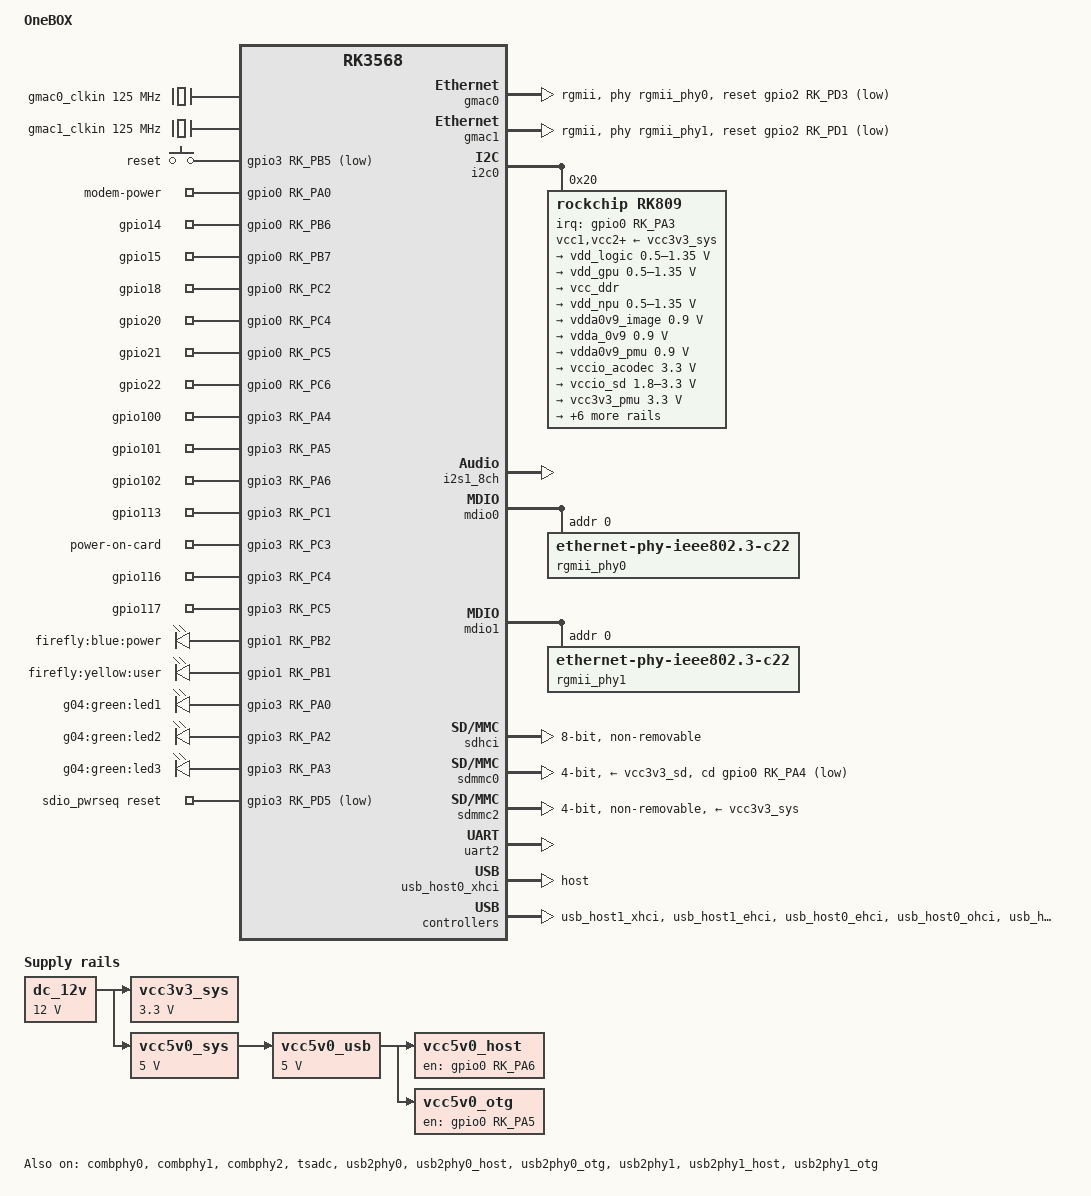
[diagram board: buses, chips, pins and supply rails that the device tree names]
// SPDX-License-Identifier: (GPL-2.0+ OR MIT)
/*
 * Copyright (c) 2021 Rockchip Electronics Co., Ltd.
 */

/dts-v1/;

#include <dt-bindings/gpio/gpio.h>
#include <dt-bindings/pinctrl/rockchip.h>
#include <dt-bindings/soc/rockchip,vop2.h>
#include <dt-bindings/input/input.h>
#include "rk3568.dtsi"

/ {
	model = "OneBOX";
	compatible = "cmiot,g04", "rockchip,rk3568";

	aliases {
		ethernet0 = &gmac0;
		ethernet1 = &gmac1;
		mmc0 = &sdmmc0;
		mmc1 = &sdhci;

		led-boot = &power_led;
		led-failsafe = &power_led;
		led-running = &power_led;
		led-upgrade = &power_led;
	};

	chosen: chosen {
		stdout-path = "serial2:1500000n8";
	};

	dc_12v: dc-12v-regulator {
		compatible = "regulator-fixed";
		regulator-name = "dc_12v";
		regulator-always-on;
		regulator-boot-on;
		regulator-min-microvolt = <12000000>;
		regulator-max-microvolt = <12000000>;
	};

	gmac0_clkin: external-gmac0-clock {
		compatible = "fixed-clock";
		clock-frequency = <125000000>;
		clock-output-names = "gmac0_clkin";
		#clock-cells = <0>;
	};

	gmac1_clkin: external-gmac1-clock {
		compatible = "fixed-clock";
		clock-frequency = <125000000>;
		clock-output-names = "gmac1_clkin";
		#clock-cells = <0>;
	};

	gpio-keys {
		compatible = "gpio-keys";

		reset {
			label = "reset";
			linux,code = <KEY_RESTART>;
			gpios = <&gpio3 RK_PB5 GPIO_ACTIVE_LOW>;
		};
	};

	gpio-export {
		compatible = "gpio-export";

		gpio0 {
			gpio-export,name = "modem-power";
			gpio-export,output = <1>;
			gpios = <&gpio0 RK_PA0 GPIO_ACTIVE_HIGH>;
		};

		gpio14 {
			gpio-export,name = "gpio14";
			gpio-export,output = <0>;
			gpios = <&gpio0 RK_PB6 GPIO_ACTIVE_HIGH>;
		};

		gpio15 {
			gpio-export,name = "gpio15";
			gpio-export,output = <0>;
			gpios = <&gpio0 RK_PB7 GPIO_ACTIVE_HIGH>;
		};

		gpio18 {
			gpio-export,name = "gpio18";
			gpios = <&gpio0 RK_PC2 GPIO_ACTIVE_HIGH>;
		};

		gpio20 {
			gpio-export,name = "gpio20";
			gpio-export,output = <0>;
			gpios = <&gpio0 RK_PC4 GPIO_ACTIVE_HIGH>;
		};

		gpio21 {
			gpio-export,name = "gpio21";
			gpios = <&gpio0 RK_PC5 GPIO_ACTIVE_HIGH>;
		};

		gpio22 {
			gpio-export,name = "gpio22";
			gpios = <&gpio0 RK_PC6 GPIO_ACTIVE_HIGH>;
		};

		gpio100 {
			gpio-export,name = "gpio100";
			gpios = <&gpio3 RK_PA4 GPIO_ACTIVE_HIGH>;
		};

		gpio101 {
			gpio-export,name = "gpio101";
			gpios = <&gpio3 RK_PA5 GPIO_ACTIVE_HIGH>;
		};

		gpio102 {
			gpio-export,name = "gpio102";
			gpio-export,output = <0>;
			gpios = <&gpio3 RK_PA6 GPIO_ACTIVE_HIGH>;
		};

		gpio113 {
			gpio-export,name = "gpio113";
			gpios = <&gpio3 RK_PC1 GPIO_ACTIVE_HIGH>;
		};

		gpio115 {
			gpio-export,name = "power-on-card";
			gpio-export,output = <1>;
			gpios = <&gpio3 RK_PC3 GPIO_ACTIVE_HIGH>;
		};

		gpio116 {
			gpio-export,name = "gpio116";
			gpio-export,output = <0>;
			gpios = <&gpio3 RK_PC4 GPIO_ACTIVE_HIGH>;
		};

		gpio117 {
			gpio-export,name = "gpio117";
			gpio-export,output = <0>;
			gpios = <&gpio3 RK_PC5 GPIO_ACTIVE_HIGH>;
		};
	};

	leds {
		compatible = "gpio-leds";
		pinctrl-names = "default";
		pinctrl-0 = <&power_led_pin>, <&user_led_pin>, <&led1_pin>,
				<&led2_pin>, <&led3_pin>;

		power_led: led-power {
			label = "firefly:blue:power";
			linux,default-trigger = "ir-power-click";
			default-state = "on";
			gpios = <&gpio1 RK_PB2 GPIO_ACTIVE_HIGH>;
		};

		led-user {
			label = "firefly:yellow:user";
			linux,default-trigger = "ir-user-click";
			default-state = "off";
			gpios = <&gpio1 RK_PB1 GPIO_ACTIVE_HIGH>;
		};

		led1 {
			label = "g04:green:led1";
			gpios = <&gpio3 RK_PA0 GPIO_ACTIVE_HIGH>;
		};

		led2 {
			label = "g04:green:led2";
			gpios = <&gpio3 RK_PA2 GPIO_ACTIVE_HIGH>;
		};

		led3 {
			label = "g04:green:led3";
			gpios = <&gpio3 RK_PA3 GPIO_ACTIVE_HIGH>;
		};
	};

	vcc3v3_sys: vcc3v3-sys-regulator {
		compatible = "regulator-fixed";
		regulator-name = "vcc3v3_sys";
		regulator-always-on;
		regulator-boot-on;
		regulator-min-microvolt = <3300000>;
		regulator-max-microvolt = <3300000>;
		vin-supply = <&dc_12v>;
	};

	vcc5v0_sys: vcc5v0-sys-regulator {
		compatible = "regulator-fixed";
		regulator-name = "vcc5v0_sys";
		regulator-always-on;
		regulator-boot-on;
		regulator-min-microvolt = <5000000>;
		regulator-max-microvolt = <5000000>;
		vin-supply = <&dc_12v>;
	};

	vcc5v0_usb: vcc5v0-usb-regulator {
		compatible = "regulator-fixed";
		regulator-name = "vcc5v0_usb";
		regulator-always-on;
		regulator-boot-on;
		regulator-min-microvolt = <5000000>;
		regulator-max-microvolt = <5000000>;
		vin-supply = <&vcc5v0_sys>;
	};

	vcc5v0_host: vcc5v0-host-regulator {
		compatible = "regulator-fixed";
		regulator-name = "vcc5v0_host";
		enable-active-high;
		gpio = <&gpio0 RK_PA6 GPIO_ACTIVE_HIGH>;
		pinctrl-names = "default";
		pinctrl-0 = <&vcc5v0_host_en>;
		regulator-always-on;
		vin-supply = <&vcc5v0_usb>;
	};

	vcc5v0_otg: vcc5v0-otg-regulator {
		compatible = "regulator-fixed";
		regulator-name = "vcc5v0_otg";
		enable-active-high;
		gpio = <&gpio0 RK_PA5 GPIO_ACTIVE_HIGH>;
		pinctrl-names = "default";
		pinctrl-0 = <&vcc5v0_otg_en>;
		vin-supply = <&vcc5v0_usb>;
	};

	sdio_pwrseq: sdio-pwrseq {
		compatible = "mmc-pwrseq-simple";
		clocks = <&rk809 1>;
		clock-names = "ext_clock";
		pinctrl-names = "default";
		pinctrl-0 = <&wifi_enable_h>;
		post-power-on-delay-ms = <100>;
		power-off-delay-us = <5000000>;
		reset-gpios = <&gpio3 RK_PD5 GPIO_ACTIVE_LOW>;
	};
};

&combphy0 {
	status = "okay";
};

&combphy1 {
	status = "okay";
};

&combphy2 {
	status = "okay";
};

&gmac0 {
	assigned-clocks = <&cru SCLK_GMAC0_RX_TX>, <&cru SCLK_GMAC0>;
	assigned-clock-parents = <&cru SCLK_GMAC0_RGMII_SPEED>, <&gmac0_clkin>;
	clock_in_out = "input";
	pinctrl-names = "default";
	pinctrl-0 = <&gmac0_miim
			&gmac0_tx_bus2
			&gmac0_rx_bus2
			&gmac0_rgmii_clk
			&gmac0_rgmii_bus
			&gmac0_clkinout>;
	phy-handle = <&rgmii_phy0>;
	phy-mode = "rgmii";
	snps,reset-gpio = <&gpio2 RK_PD3 GPIO_ACTIVE_LOW>;
	snps,reset-active-low;
	/* Reset time is 20ms, 100ms for rtl8211f */
	snps,reset-delays-us = <0 20000 100000>;
	tx_delay = <0x3c>;
	rx_delay = <0x2f>;
	status = "okay";
};

&gmac1 {
	assigned-clocks = <&cru SCLK_GMAC1_RX_TX>, <&cru SCLK_GMAC1>;
	assigned-clock-parents = <&cru SCLK_GMAC1_RGMII_SPEED>, <&gmac1_clkin>;
	clock_in_out = "input";
	pinctrl-names = "default";
	pinctrl-0 = <&gmac1m1_miim
			&gmac1m1_tx_bus2
			&gmac1m1_rx_bus2
			&gmac1m1_rgmii_clk
			&gmac1m1_rgmii_bus
			&gmac1m1_clkinout>;
	phy-handle = <&rgmii_phy1>;
	phy-mode = "rgmii";
	snps,reset-gpio = <&gpio2 RK_PD1 GPIO_ACTIVE_LOW>;
	snps,reset-active-low;
	/* Reset time is 20ms, 100ms for rtl8211f */
	snps,reset-delays-us = <0 20000 100000>;
	tx_delay = <0x4f>;
	rx_delay = <0x26>;
	status = "okay";
};

&i2c0 {
	status = "okay";

	rk809: pmic@20 {
		compatible = "rockchip,rk809";
		reg = <0x20>;
		interrupt-parent = <&gpio0>;
		interrupts = <RK_PA3 IRQ_TYPE_LEVEL_LOW>;
		#clock-cells = <1>;
		pinctrl-names = "default";
		pinctrl-0 = <&pmic_int>;
		rockchip,system-power-controller;
		vcc1-supply = <&vcc3v3_sys>;
		vcc2-supply = <&vcc3v3_sys>;
		vcc3-supply = <&vcc3v3_sys>;
		vcc4-supply = <&vcc3v3_sys>;
		vcc5-supply = <&vcc3v3_sys>;
		vcc6-supply = <&vcc3v3_sys>;
		vcc7-supply = <&vcc3v3_sys>;
		vcc8-supply = <&vcc3v3_sys>;
		vcc9-supply = <&vcc3v3_sys>;
		wakeup-source;

		regulators {
			vdd_logic: DCDC_REG1 {
				regulator-name = "vdd_logic";
				regulator-always-on;
				regulator-boot-on;
				regulator-initial-mode = <0x2>;
				regulator-min-microvolt = <500000>;
				regulator-max-microvolt = <1350000>;
				regulator-ramp-delay = <6001>;

				regulator-state-mem {
					regulator-off-in-suspend;
				};
			};

			vdd_gpu: DCDC_REG2 {
				regulator-always-on;
				regulator-boot-on;
				regulator-name = "vdd_gpu";
				regulator-initial-mode = <0x2>;
				regulator-min-microvolt = <500000>;
				regulator-max-microvolt = <1350000>;
				regulator-ramp-delay = <6001>;

				regulator-state-mem {
					regulator-off-in-suspend;
				};
			};

			vcc_ddr: DCDC_REG3 {
				regulator-name = "vcc_ddr";
				regulator-always-on;
				regulator-boot-on;
				regulator-initial-mode = <0x2>;

				regulator-state-mem {
					regulator-on-in-suspend;
				};
			};

			vdd_npu: DCDC_REG4 {
				regulator-always-on;
				regulator-boot-on;
				regulator-name = "vdd_npu";
				regulator-initial-mode = <0x2>;
				regulator-min-microvolt = <500000>;
				regulator-max-microvolt = <1350000>;
				regulator-ramp-delay = <6001>;

				regulator-state-mem {
					regulator-off-in-suspend;
				};
			};

			vdda0v9_image: LDO_REG1 {
				regulator-always-on;
				regulator-boot-on;
				regulator-name = "vdda0v9_image";
				regulator-min-microvolt = <900000>;
				regulator-max-microvolt = <900000>;

				regulator-state-mem {
					regulator-off-in-suspend;
				};
			};

			vdda_0v9: LDO_REG2 {
				regulator-name = "vdda_0v9";
				regulator-always-on;
				regulator-boot-on;
				regulator-min-microvolt = <900000>;
				regulator-max-microvolt = <900000>;

				regulator-state-mem {
					regulator-off-in-suspend;
				};
			};

			vdda0v9_pmu: LDO_REG3 {
				regulator-name = "vdda0v9_pmu";
				regulator-always-on;
				regulator-boot-on;
				regulator-min-microvolt = <900000>;
				regulator-max-microvolt = <900000>;

				regulator-state-mem {
					regulator-on-in-suspend;
					regulator-suspend-microvolt = <900000>;
				};
			};

			vccio_acodec: LDO_REG4 {
				regulator-always-on;
				regulator-boot-on;
				regulator-name = "vccio_acodec";
				regulator-min-microvolt = <3300000>;
				regulator-max-microvolt = <3300000>;

				regulator-state-mem {
					regulator-off-in-suspend;
				};
			};

			vccio_sd: LDO_REG5 {
				regulator-always-on;
				regulator-boot-on;
				regulator-name = "vccio_sd";
				regulator-min-microvolt = <1800000>;
				regulator-max-microvolt = <3300000>;

				regulator-state-mem {
					regulator-off-in-suspend;
				};
			};

			vcc3v3_pmu: LDO_REG6 {
				regulator-name = "vcc3v3_pmu";
				regulator-always-on;
				regulator-boot-on;
				regulator-min-microvolt = <3300000>;
				regulator-max-microvolt = <3300000>;

				regulator-state-mem {
					regulator-on-in-suspend;
					regulator-suspend-microvolt = <3300000>;
				};
			};

			vcca_1v8: LDO_REG7 {
				regulator-name = "vcca_1v8";
				regulator-always-on;
				regulator-boot-on;
				regulator-min-microvolt = <1800000>;
				regulator-max-microvolt = <1800000>;

				regulator-state-mem {
					regulator-off-in-suspend;
				};
			};

			vcca1v8_pmu: LDO_REG8 {
				regulator-name = "vcca1v8_pmu";
				regulator-always-on;
				regulator-boot-on;
				regulator-min-microvolt = <1800000>;
				regulator-max-microvolt = <1800000>;

				regulator-state-mem {
					regulator-on-in-suspend;
					regulator-suspend-microvolt = <1800000>;
				};
			};

			vcca1v8_image: LDO_REG9 {
				regulator-always-on;
				regulator-boot-on;
				regulator-name = "vcca1v8_image";
				regulator-min-microvolt = <1800000>;
				regulator-max-microvolt = <1800000>;

				regulator-state-mem {
					regulator-off-in-suspend;
				};
			};

			vcc_1v8: DCDC_REG5 {
				regulator-name = "vcc_1v8";
				regulator-always-on;
				regulator-boot-on;
				regulator-min-microvolt = <1800000>;
				regulator-max-microvolt = <1800000>;

				regulator-state-mem {
					regulator-off-in-suspend;
				};
			};

			vcc_3v3: SWITCH_REG1 {
				regulator-name = "vcc_3v3";
				regulator-always-on;
				regulator-boot-on;

				regulator-state-mem {
					regulator-off-in-suspend;
				};
			};

			vcc3v3_sd: SWITCH_REG2 {
				regulator-name = "vcc3v3_sd";
				regulator-always-on;
				regulator-boot-on;

				regulator-state-mem {
					regulator-off-in-suspend;
				};
			};
		};
	};
};

&i2s1_8ch {
	rockchip,trcm-sync-tx-only;
	status = "okay";
};

&mdio0 {
	rgmii_phy0: phy@0 {
		compatible = "ethernet-phy-ieee802.3-c22";
		reg = <0x0>;
	};
};

&mdio1 {
	rgmii_phy1: phy@0 {
		compatible = "ethernet-phy-ieee802.3-c22";
		reg = <0x0>;
	};
};

&pinctrl {
	leds {
		power_led_pin: power-led-pin {
			rockchip,pins = <1 RK_PB2 RK_FUNC_GPIO &pcfg_pull_none>;
		};

		user_led_pin: user-led-pin {
			rockchip,pins = <1 RK_PB1 RK_FUNC_GPIO &pcfg_pull_none>;
		};

		led1_pin: led1-pin {
			rockchip,pins = <3 RK_PA0 RK_FUNC_GPIO &pcfg_pull_none>;
		};

		led2_pin: led2-pin {
			rockchip,pins = <3 RK_PA2 RK_FUNC_GPIO &pcfg_pull_none>;
		};

		led3_pin: led3-pin {
			rockchip,pins = <3 RK_PA3 RK_FUNC_GPIO &pcfg_pull_none>;
		};
	};

	usb {
		vcc5v0_host_en: vcc5v0-host-en {
			rockchip,pins = <0 RK_PD6 RK_FUNC_GPIO &pcfg_pull_none>;
		};

		vcc5v0_otg_en: vcc5v0-otg-en {
			rockchip,pins = <0 RK_PA5 RK_FUNC_GPIO &pcfg_pull_none>;
		};
	};

	pmic {
		pmic_int: pmic-int {
			rockchip,pins =
				<0 RK_PA3 RK_FUNC_GPIO &pcfg_pull_up>;
		};
	};

	sdio-pwrseq {
		wifi_enable_h: wifi-enable-h {
			rockchip,pins = <3 RK_PD5 RK_FUNC_GPIO &pcfg_pull_none>;
		};
	};
};

&pmu_io_domains {
	pmuio1-supply = <&vcc3v3_pmu>;
	pmuio2-supply = <&vcc3v3_pmu>;
	vccio1-supply = <&vccio_acodec>;
	vccio2-supply = <&vcc_1v8>;
	vccio3-supply = <&vccio_sd>;
	vccio4-supply = <&vcc_1v8>;
	vccio5-supply = <&vcc_3v3>;
	vccio6-supply = <&vcc_1v8>;
	vccio7-supply = <&vcc_3v3>;
	status = "okay";
};

&sdhci {
	bus-width = <8>;
	max-frequency = <200000000>;
	non-removable;
	pinctrl-names = "default";
	pinctrl-0 = <&emmc_bus8 &emmc_clk &emmc_cmd &emmc_datastrobe>;
	status = "okay";
};

&sdmmc0 {
	bus-width = <4>;
	cap-sd-highspeed;
	cd-gpios = <&gpio0 RK_PA4 GPIO_ACTIVE_LOW>;
	disable-wp;
	pinctrl-names = "default";
	pinctrl-0 = <&sdmmc0_bus4 &sdmmc0_clk &sdmmc0_cmd &sdmmc0_det>;
	sd-uhs-sdr104;
	vmmc-supply = <&vcc3v3_sd>;
	vqmmc-supply = <&vccio_sd>;
	status = "okay";
};

&sdmmc2 {
	bus-width = <4>;
	cap-sd-highspeed;
	cap-sdio-irq;
	disable-wp;
	keep-power-in-suspend;
	mmc-pwrseq = <&sdio_pwrseq>;
	non-removable;
	pinctrl-names = "default";
	pinctrl-0 = <&sdmmc2m0_bus4 &sdmmc2m0_cmd &sdmmc2m0_clk>;
	sd-uhs-sdr104;
	vmmc-supply = <&vcc3v3_sys>;
	vqmmc-supply = <&vcca1v8_pmu>;
	status = "okay";
};

&tsadc {
	status = "okay";
};

&uart2 {
	status = "okay";
};

&usb_host0_xhci {
	dr_mode = "host";
	extcon = <&usb2phy0>;
	status = "okay";
};

&usb_host1_xhci {
	status = "okay";
};

&usb_host1_ehci {
	status = "okay";
};

&usb_host0_ehci {
	status = "okay";
};

&usb_host0_ohci {
	status = "okay";
};

&usb_host1_ohci {
	status = "okay";
};

&usb2phy0 {
	status = "okay";
};

&usb2phy0_host {
	phy-supply = <&vcc5v0_host>;
	status = "okay";
};

&usb2phy0_otg {
	status = "okay";
};

&usb2phy1 {
	status = "okay";
};

&usb2phy1_host {
	phy-supply = <&vcc5v0_host>;
	status = "okay";
};

&usb2phy1_otg {
	phy-supply = <&vcc5v0_host>;
	status = "okay";
};
